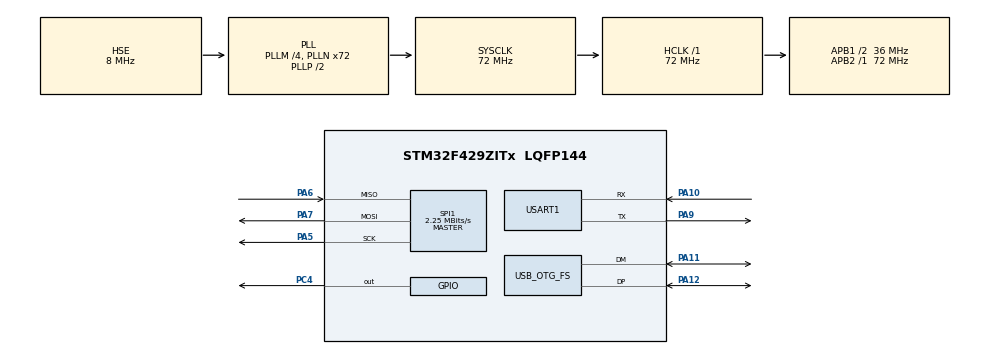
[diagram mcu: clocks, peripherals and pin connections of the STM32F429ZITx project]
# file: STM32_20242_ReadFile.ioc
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FATFS._MAX_SS=4096
FATFS._USE_LFN=1
Mcu.Family=STM32F4
Mcu.Name=STM32F429ZITx
Mcu.Package=LQFP144
NVIC.OTG_FS_IRQn=true\:0\:0\:false\:false\:true\:false\:true\:true
NVIC.PriorityGroup=NVIC_PRIORITYGROUP_4
PA10.Mode=Asynchronous
PA10.Signal=USART1_RX
PA11.Mode=Device_Only
PA11.Signal=USB_OTG_FS_DM
PA12.Mode=Device_Only
PA12.Signal=USB_OTG_FS_DP
PA5.Mode=Full_Duplex_Master
PA5.Signal=SPI1_SCK
PA6.Mode=Full_Duplex_Master
PA6.Signal=SPI1_MISO
PA7.Mode=Full_Duplex_Master
PA7.Signal=SPI1_MOSI
PA9.Mode=Asynchronous
PA9.Signal=USART1_TX
PC4.Signal=GPIO_Output
PH0/OSC_IN.Mode=HSE-External-Oscillator
PH0/OSC_IN.Signal=RCC_OSC_IN
PH1/OSC_OUT.Mode=HSE-External-Oscillator
PH1/OSC_OUT.Signal=RCC_OSC_OUT
ProjectManager.HeapSize=0x200
ProjectManager.StackSize=0x400
ProjectManager.TargetToolchain=STM32CubeIDE
RCC.48MHZClocksFreq_Value=48000000
RCC.AHBFreq_Value=72000000
RCC.APB1CLKDivider=RCC_HCLK_DIV2
RCC.APB1Freq_Value=36000000
RCC.APB1TimFreq_Value=72000000
RCC.APB2Freq_Value=72000000
RCC.APB2TimFreq_Value=72000000
RCC.CortexFreq_Value=72000000
RCC.HCLKFreq_Value=72000000
RCC.HSE_VALUE=8000000
RCC.HSI_VALUE=16000000
RCC.PLLM=4
RCC.PLLN=72
RCC.PLLQ=3
RCC.SYSCLKFreq_VALUE=72000000
RCC.SYSCLKSource=RCC_SYSCLKSOURCE_PLLCLK
RCC.VCOOutputFreq_Value=144000000
SPI1.BaudRatePrescaler=SPI_BAUDRATEPRESCALER_32
SPI1.CalculateBaudRate=2.25 MBits/s
SPI1.Direction=SPI_DIRECTION_2LINES
SPI1.Mode=SPI_MODE_MASTER
SPI1.VirtualType=VM_MASTER
USART1.VirtualMode=VM_ASYNC
USB_DEVICE.CLASS_NAME_FS=MSC
USB_DEVICE.VirtualMode-MSC_FS=Msc
USB_DEVICE.VirtualModeFS=Msc_FS
USB_OTG_FS.VirtualMode=Device_Only
VP_FATFS_VS_Generic.Mode=User_defined
VP_USB_DEVICE_VS_USB_DEVICE_MSC_FS.Mode=MSC_FS
board=custom

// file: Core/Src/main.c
/* USER CODE BEGIN Header */
/**
  ******************************************************************************
  * @file           : main.c
  * @brief          : Main program body
  ******************************************************************************
  * @attention
  *
  * Copyright (c) 2025 STMicroelectronics.
  * All rights reserved.
  *
  * This software is licensed under terms that can be found in the LICENSE file
  * in the root directory of this software component.
  * If no LICENSE file comes with this software, it is provided AS-IS.
  *
  ******************************************************************************
  */
/* USER CODE END Header */
#include "main.h"
#include "fatfs.h"
#include "usb_device.h"
#include "string.h"
#include "fatfs_sd.h"
#include "stm32f4xx_hal.h"
#include "stdint.h"

SPI_HandleTypeDef hspi1;

UART_HandleTypeDef huart1;

void SystemClock_Config(void);
static void MX_GPIO_Init(void);
static void MX_SPI1_Init(void);
static void MX_USART1_UART_Init(void);

/* USER CODE BEGIN 0 */
FATFS fs;
FIL fil;
FRESULT fresult;
char buffer[1024];

UINT br, bw;

// capacity
FATFS *pfs;
DWORD fre_clust;
uint32_t total, free_space;

// to send data to uart
void send_uart(char *string)
{
	/*
	uint16_t len = strlen(string);
	memset(buf2, 0, sizeof(buf2));
	HAL_UART_Transmit(&huart1, (uint8_t)* string, len, 2000);
	*/
  char buf1[100];
  memset(buf1, 0, sizeof(buf1));
  strcpy(buf1, string);
  HAL_UART_Transmit(&huart1,(char*) buf1, sizeof(buf1), 2000);

}

int bufsize(char *buf){
	int i=0;
	while (*buf++ != '\0' )i++;

	return i;
}
void bufclear(void){
	for (int i=0;i<1024;i++){
		buffer[i] = '\0';
	}
}
/* USER CODE END 0 */

int main(void)
{

  /* MCU Configuration--------------------------------------------------------*/

  /* Reset of all peripherals, Initializes the Flash interface and the Systick. */
  HAL_Init();

  /* Configure the system clock */
  SystemClock_Config();

  /* Initialize all configured peripherals */
  MX_GPIO_Init();
  MX_SPI1_Init();
  MX_USART1_UART_Init();
  MX_FATFS_Init();
  MX_USB_DEVICE_Init();
  //SD_FATFS_Init();
  /* USER CODE BEGIN 2 */
  HAL_Delay(500);
  // Mount the SD card

  fresult = f_mount(&fs, "", 0);  // Changed to "0:" and force mount
  if (fresult != FR_OK) {
    switch(fresult) {
      case FR_DISK_ERR:
        send_uart("Error: Disk error\n");
        break;
      case FR_INT_ERR:
        send_uart("Error: Internal error\n");
        break;
      case FR_NOT_READY:
        send_uart("Error: Not ready\n");
        break;
      case FR_NO_FILESYSTEM:
        send_uart("Error: No valid FAT volume\n");
        break;
      default:
        sprintf(buffer, "Error mounting SD card: %d\n", fresult);
        send_uart(buffer);
    }
    Error_Handler();
  }
  send_uart("SD Card mounted successfully\n");

/*
  // Check if SD card is ready
  if (disk_status(0) & STA_NOINIT) {
    send_uart("SD Card not initialized\n");
    Error_Handler();
  }
  if (disk_status(0) & STA_NODISK) {
    send_uart("No SD card detected\n");
    Error_Handler();
  }
  if (disk_status(0) & STA_PROTECT) {
    send_uart("SD Card is write protected\n");
    Error_Handler();
  }

/* Open file to write */
  // check free space
  f_getfree("", &fre_clust, &pfs);
  total = (uint32_t)((pfs->n_fatent -2)* pfs->csize*0.5);
  sprintf(buffer, "SD Card total size: \t%lu\n", total);
  send_uart(buffer);
  bufclear();
  free_space = (uint32_t)(fre_clust * pfs->csize * 0.5);
  sprintf(buffer, "SD_CARD Free Space: \t%lu\n", free_space);
  send_uart(buffer);

  // open a file or create if not existing
  fresult = f_open(&fil, "file1.txt", FA_OPEN_ALWAYS | FA_READ | FA_WRITE);

  // WRITE TEXT
  fresult = f_puts("This data is from the first file \n\n", &fil);

  // close
  fresult = f_close(&fil);
  //
  send_uart ("file1.txt created and the data is written\n");

  // open file to read
  fresult = f_open(&fil, "file.txt", FA_READ);

  // read string from the file
  f_gets(buffer, fil.buf, &fil);

  send_uart(buffer);
  // close file
  f_close(&fil);
  bufclear();

 //----------Update a file-------------/
  fresult = f_open(&fil, 'file1.txt', FA_OPEN_ALWAYS | FA_WRITE);

  // move to the end
  fresult = f_lseek(&fil, fil.buf); // xem lai de la f.size

  // write to string to file
  fresult = f_puts("This is updated area and it should be at the end\n", &fil);

  f_close(&fil);

  // open to read
  fresult = f_open(&fil, "file1.txt", FA_READ);

  // read from string
  f_read(&fil, buffer, fil.buf, &br);
  send_uart(buffer);

  // close file
  f_close(&fil);

  bufclear();

  //-----------------Delete from Card-----------------/
  fresult = f_unlink("/file1.txt");
  if (fresult == FR_OK){
	  send_uart("file1.txt removed sucessfully\n");
  }

  /* USER CODE END 2 */

  /* Infinite loop */
  while (1)
  {

  }
}

void SystemClock_Config(void)
{
  RCC_OscInitTypeDef RCC_OscInitStruct = {0};
  RCC_ClkInitTypeDef RCC_ClkInitStruct = {0};

  /** Configure the main internal regulator output voltage
  */
  __HAL_RCC_PWR_CLK_ENABLE();
  __HAL_PWR_VOLTAGESCALING_CONFIG(PWR_REGULATOR_VOLTAGE_SCALE3);

  /** Initializes the RCC Oscillators according to the specified parameters
  * in the RCC_OscInitTypeDef structure.
  */
  RCC_OscInitStruct.OscillatorType = RCC_OSCILLATORTYPE_HSE;
  RCC_OscInitStruct.HSEState = RCC_HSE_ON;
  RCC_OscInitStruct.PLL.PLLState = RCC_PLL_ON;
  RCC_OscInitStruct.PLL.PLLSource = RCC_PLLSOURCE_HSE;
  RCC_OscInitStruct.PLL.PLLM = 4;
  RCC_OscInitStruct.PLL.PLLN = 72;
  RCC_OscInitStruct.PLL.PLLP = RCC_PLLP_DIV2;
  RCC_OscInitStruct.PLL.PLLQ = 3;
  if (HAL_RCC_OscConfig(&RCC_OscInitStruct) != HAL_OK)
  {
    Error_Handler();
  }

  /** Initializes the CPU, AHB and APB buses clocks
  */
  RCC_ClkInitStruct.ClockType = RCC_CLOCKTYPE_HCLK|RCC_CLOCKTYPE_SYSCLK
                              |RCC_CLOCKTYPE_PCLK1|RCC_CLOCKTYPE_PCLK2;
  RCC_ClkInitStruct.SYSCLKSource = RCC_SYSCLKSOURCE_PLLCLK;
  RCC_ClkInitStruct.AHBCLKDivider = RCC_SYSCLK_DIV1;
  RCC_ClkInitStruct.APB1CLKDivider = RCC_HCLK_DIV2;
  RCC_ClkInitStruct.APB2CLKDivider = RCC_HCLK_DIV1;

  if (HAL_RCC_ClockConfig(&RCC_ClkInitStruct, FLASH_LATENCY_2) != HAL_OK)
  {
    Error_Handler();
  }
}

static void MX_SPI1_Init(void)
{

  /* SPI1 parameter configuration*/
  hspi1.Instance = SPI1;
  hspi1.Init.Mode = SPI_MODE_MASTER;
  hspi1.Init.Direction = SPI_DIRECTION_2LINES;
  hspi1.Init.DataSize = SPI_DATASIZE_8BIT;
  hspi1.Init.CLKPolarity = SPI_POLARITY_LOW;
  hspi1.Init.CLKPhase = SPI_PHASE_1EDGE;
  hspi1.Init.NSS = SPI_NSS_SOFT;
  hspi1.Init.BaudRatePrescaler = SPI_BAUDRATEPRESCALER_32;
  hspi1.Init.FirstBit = SPI_FIRSTBIT_MSB;
  hspi1.Init.TIMode = SPI_TIMODE_DISABLE;
  hspi1.Init.CRCCalculation = SPI_CRCCALCULATION_DISABLE;
  hspi1.Init.CRCPolynomial = 10;
  if (HAL_SPI_Init(&hspi1) != HAL_OK)
  {
    Error_Handler();
  }

}

static void MX_USART1_UART_Init(void)
{

  huart1.Instance = USART1;
  huart1.Init.BaudRate = 115200;
  huart1.Init.WordLength = UART_WORDLENGTH_8B;
  huart1.Init.StopBits = UART_STOPBITS_1;
  huart1.Init.Parity = UART_PARITY_NONE;
  huart1.Init.Mode = UART_MODE_TX_RX;
  huart1.Init.HwFlowCtl = UART_HWCONTROL_NONE;
  huart1.Init.OverSampling = UART_OVERSAMPLING_16;
  if (HAL_UART_Init(&huart1) != HAL_OK)
  {
    Error_Handler();
  }

}

static void MX_GPIO_Init(void)
{
  GPIO_InitTypeDef GPIO_InitStruct = {0};

  /* GPIO Ports Clock Enable */
  __HAL_RCC_GPIOH_CLK_ENABLE();
  __HAL_RCC_GPIOA_CLK_ENABLE();
  __HAL_RCC_GPIOC_CLK_ENABLE();

  /*Configure GPIO pin Output Level */
  HAL_GPIO_WritePin(GPIOC, GPIO_PIN_4, GPIO_PIN_RESET);

  /*Configure GPIO pin : PC4 */
  GPIO_InitStruct.Pin = GPIO_PIN_4;
  GPIO_InitStruct.Mode = GPIO_MODE_OUTPUT_PP;
  GPIO_InitStruct.Pull = GPIO_NOPULL;
  GPIO_InitStruct.Speed = GPIO_SPEED_FREQ_LOW;
  HAL_GPIO_Init(GPIOC, &GPIO_InitStruct);

}

void Error_Handler(void)
{
  __disable_irq();
  while (1)
  {
  }
}
